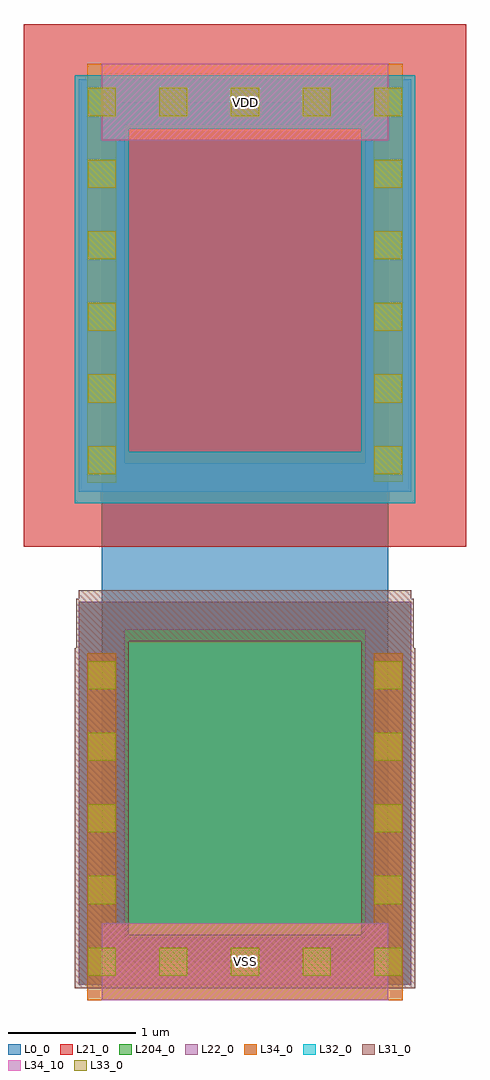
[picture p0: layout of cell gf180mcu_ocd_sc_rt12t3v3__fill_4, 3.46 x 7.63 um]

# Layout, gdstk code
import gdstk
lib = gdstk.Library(unit=1e-6, precision=1e-09)
def R(c, l, rs):  # rectangles x0, y0, x1, y1
    for r in rs: c.add(gdstk.rectangle(r[:2], r[2:], *l))
def A(c, l, x, y, w, h, nx, ny, dx, dy):  # array of equal rectangles
    R(c, l, [(x+i*dx, y+j*dy, x+i*dx+w, y+j*dy+h) for i in range(nx) for j in range(ny)])
L0_0 = (0, 0)
L21_0 = (21, 0)
L22_0 = (22, 0)
L31_0 = (31, 0)
L32_0 = (32, 0)
L33_0 = (33, 0)
L34_0 = (34, 0)
L34_10 = (34, 10)
L204_0 = (204, 0)

gf180mcu_ocd_sc_rt12t3v3 = lib.new_cell('gf180mcu_ocd_sc_rt12t3v3__fill_4')
R(gf180mcu_ocd_sc_rt12t3v3, L0_0, [(0,0,2.24,6.72)])
R(gf180mcu_ocd_sc_rt12t3v3, L21_0, [(-0.61,3.245,2.85,7.33)])
R(gf180mcu_ocd_sc_rt12t3v3, L22_0, [(-0.18,-0.18,2.42,0.18), (-0.18,0.18,0.18,2.595), (2.06,0.18,2.42,2.595), (-0.18,2.595,2.42,2.815), (-0.18,3.675,2.42,3.895), (-0.18,3.895,0.18,6.54), (2.06,3.895,2.42,6.54), (-0.18,6.54,2.42,6.9)])
R(gf180mcu_ocd_sc_rt12t3v3, L31_0, [(-0.21,-0.21,2.45,0.21), (-0.21,0.21,0.21,2.45), (2.03,0.21,2.45,2.45), (-0.2,2.45,0.21,2.505), (2.03,2.45,2.44,2.505), (-0.2,2.505,2.44,2.835), (-0.18,2.835,2.42,2.905)])
R(gf180mcu_ocd_sc_rt12t3v3, L32_0, [(-0.21,3.585,2.45,3.985), (-0.21,3.985,0.21,6.51), (2.03,3.985,2.45,6.51), (-0.21,6.51,2.45,6.93)])
A(gf180mcu_ocd_sc_rt12t3v3, L33_0, -0.11, -0.11, 0.22, 0.22, 5, 2, 0.56, 6.72)
A(gf180mcu_ocd_sc_rt12t3v3, L33_0, -0.11, 0.45, 0.22, 0.22, 1, 4, 0, 0.56)
A(gf180mcu_ocd_sc_rt12t3v3, L33_0, 2.13, 0.45, 0.22, 0.22, 1, 4, 0, 0.56)
A(gf180mcu_ocd_sc_rt12t3v3, L33_0, -0.11, 3.81, 0.22, 0.22, 1, 5, 0, 0.56)
A(gf180mcu_ocd_sc_rt12t3v3, L33_0, 2.13, 3.81, 0.22, 0.22, 1, 5, 0, 0.56)
R(gf180mcu_ocd_sc_rt12t3v3, L34_0, [(-0.115,-0.3,2.355,0.3), (-0.115,0.3,0.115,2.41), (2.125,0.3,2.355,2.41), (-0.115,3.745,0.115,6.42), (2.125,3.75,2.355,6.42), (-0.115,6.42,2.355,7.02)])
R(gf180mcu_ocd_sc_rt12t3v3, L34_10, [(0,-0.3,2.24,0.3), (0,6.42,2.24,7.02)])
R(gf180mcu_ocd_sc_rt12t3v3, L204_0, [(0,-0.3,2.24,-0.18), (-0.18,-0.18,2.42,2.815)])
gf180mcu_ocd_sc_rt12t3v3.add(gdstk.Label('VDD', (1.12,6.72), layer=34, texttype=10))
gf180mcu_ocd_sc_rt12t3v3.add(gdstk.Label('VSS', (1.12,0), layer=34, texttype=10))

lib.write_gds('gf180mcu_ocd_sc_rt12t3v3__fill_4.gds')
